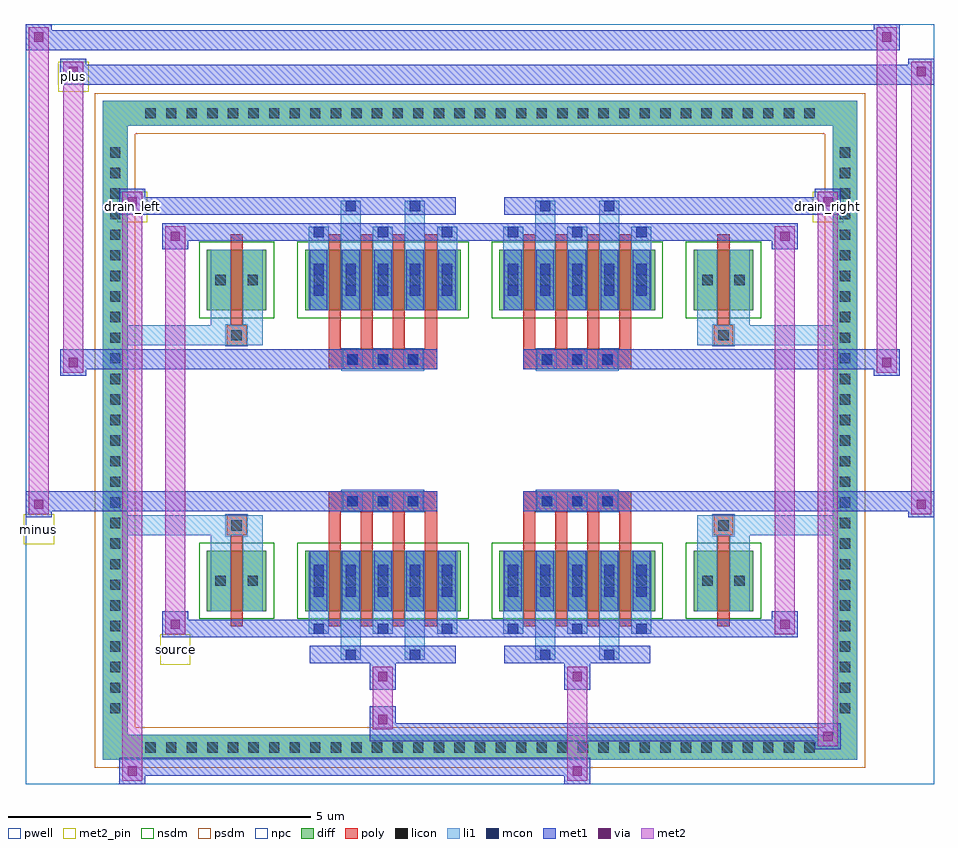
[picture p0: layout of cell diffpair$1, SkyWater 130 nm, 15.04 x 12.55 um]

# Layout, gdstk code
import gdstk
lib = gdstk.Library(unit=1e-6, precision=5e-09)
def R(c, l, rs):  # rectangles x0, y0, x1, y1
    for r in rs: c.add(gdstk.rectangle(r[:2], r[2:], *l))
def A(c, l, x, y, w, h, nx, ny, dx, dy):  # array of equal rectangles
    R(c, l, [(x+i*dx, y+j*dy, x+i*dx+w, y+j*dy+h) for i in range(nx) for j in range(ny)])
def P(c, l, *ps):  # polygons
    for p in ps: c.add(gdstk.Polygon(p, *l))
pwell = (64, 44)
diff = (65, 20)
poly = (66, 20)
licon = (66, 44)
li1 = (67, 20)
mcon = (67, 44)
met1 = (68, 20)
via = (68, 44)
met2_pin = (69, 16)
met2 = (69, 20)
nsdm = (93, 44)
psdm = (94, 20)
npc = (95, 20)

diffpair_1 = lib.new_cell('diffpair$1')
R(diffpair_1, pwell, [(-7.5,-5.84,7.5,6.71), (-4.82,-4.03,-0.01,-0.805), (0.01,-4.03,4.82,-0.805), (-4.82,0.805,-0.01,4.03), (0.01,0.805,4.82,4.03)])
A(diffpair_1, diff, -5.645, -5.44, 0.41, 0.41, 33, 2, 0.34, 10.47)
A(diffpair_1, diff, -6.23, -4.795, 0.41, 0.41, 1, 28, 0, 0.34)
A(diffpair_1, diff, 5.82, -4.795, 0.41, 0.41, 1, 28, 0, 0.34)
R(diffpair_1, diff, [(-5.645,-5.44,5.645,-5.03), (-6.23,-4.795,-5.82,4.795), (5.82,-4.795,6.23,4.795), (-4.51,-2.985,-3.53,-1.985), (-2.89,-2.985,-0.32,-1.985), (0.32,-2.985,2.89,-1.985), (3.53,-2.985,4.51,-1.985), (-4.51,1.985,-3.53,2.985), (-2.89,1.985,-0.32,2.985), (0.32,1.985,2.89,2.985), (3.53,1.985,4.51,2.985), (-5.645,5.03,5.645,5.44)])
P(diffpair_1, diff, [(6.23,5.44),(-6.23,5.44),(-6.23,-5.03),(-5.82,-5.03),(-5.82,5.03),(5.82,5.03),(5.82,-5.03),(-5.82,-5.03),(-6.23,-5.03),(-6.23,-5.44),(6.23,-5.44)])
A(diffpair_1, poly, -2.5, -3.235, 0.2, 1.5, 4, 2, 0.53, 4.97)
A(diffpair_1, poly, 0.71, -3.235, 0.2, 1.5, 4, 2, 0.53, 4.97)
A(diffpair_1, poly, -2.5, -1.735, 0.2, 0.4, 4, 2, 0.53, 3.07)
A(diffpair_1, poly, 0.71, -1.735, 0.2, 0.4, 4, 2, 0.53, 3.07)
A(diffpair_1, poly, -2.27, -1.335, 0.33, 0.33, 3, 2, 0.5, 2.34)
A(diffpair_1, poly, 0.94, -1.335, 0.33, 0.33, 3, 2, 0.5, 2.34)
R(diffpair_1, poly, [(-4.12,-3.235,-3.92,-1.735), (3.92,-3.235,4.12,-1.735), (-4.185,-1.735,-3.855,-1.405), (-4.185,-1.735,-3.855,-1.405), (3.855,-1.735,4.185,-1.405), (3.855,-1.735,4.185,-1.405), (-2.5,-1.335,-0.71,-1.005), (0.71,-1.335,2.5,-1.005), (-2.5,1.005,-0.71,1.335), (0.71,1.005,2.5,1.335), (-4.185,1.405,-3.855,1.735), (-4.185,1.405,-3.855,1.735), (3.855,1.405,4.185,1.735), (3.855,1.405,4.185,1.735), (-4.12,1.735,-3.92,3.235), (3.92,1.735,4.12,3.235)])
A(diffpair_1, licon, -5.525, -5.32, 0.17, 0.17, 33, 2, 0.34, 10.47)
A(diffpair_1, licon, -6.11, -4.675, 0.17, 0.17, 1, 28, 0, 0.34)
A(diffpair_1, licon, 5.94, -4.675, 0.17, 0.17, 1, 28, 0, 0.34)
A(diffpair_1, licon, -2.75, -2.57, 0.17, 0.17, 5, 2, 0.53, 4.97)
A(diffpair_1, licon, 0.46, -2.57, 0.17, 0.17, 5, 2, 0.53, 4.97)
A(diffpair_1, licon, -2.19, -1.255, 0.17, 0.17, 3, 2, 0.5, 2.34)
A(diffpair_1, licon, 1.02, -1.255, 0.17, 0.17, 3, 2, 0.5, 2.34)
R(diffpair_1, licon, [(-4.37,-2.57,-4.2,-2.4), (-3.84,-2.57,-3.67,-2.4), (3.67,-2.57,3.84,-2.4), (4.2,-2.57,4.37,-2.4), (-4.105,-1.655,-3.935,-1.485), (3.935,-1.655,4.105,-1.485), (-4.105,1.485,-3.935,1.655), (3.935,1.485,4.105,1.655), (-4.37,2.4,-4.2,2.57), (-3.84,2.4,-3.67,2.57), (3.67,2.4,3.84,2.57), (4.2,2.4,4.37,2.57)])
A(diffpair_1, li1, -5.605, -5.4, 0.33, 0.33, 33, 2, 0.34, 10.47)
A(diffpair_1, li1, -6.19, -4.755, 0.33, 0.33, 1, 28, 0, 0.34)
A(diffpair_1, li1, 5.86, -4.755, 0.33, 0.33, 1, 28, 0, 0.34)
A(diffpair_1, li1, -2.83, -3.36, 0.33, 0.375, 3, 2, 1.06, 6.345)
A(diffpair_1, li1, -2.75, -3.36, 0.17, 0.17, 3, 2, 1.06, 6.55)
A(diffpair_1, li1, 0.38, -3.36, 0.33, 0.375, 3, 2, 1.06, 6.345)
A(diffpair_1, li1, 0.46, -3.36, 0.17, 0.17, 3, 2, 1.06, 6.55)
A(diffpair_1, li1, -2.83, -2.985, 0.33, 1, 5, 2, 0.53, 4.97)
A(diffpair_1, li1, 0.38, -2.985, 0.33, 1, 5, 2, 0.53, 4.97)
A(diffpair_1, li1, -2.75, -2.75, 0.17, 0.17, 5, 2, 0.53, 0.36)
A(diffpair_1, li1, -2.75, -2.75, 0.17, 0.53, 5, 2, 0.53, 4.97)
A(diffpair_1, li1, 0.46, -2.75, 0.17, 0.17, 5, 2, 0.53, 0.36)
A(diffpair_1, li1, 0.46, -2.75, 0.17, 0.53, 5, 2, 0.53, 4.97)
A(diffpair_1, li1, -2.83, -2.65, 0.33, 0.33, 5, 2, 0.53, 4.97)
A(diffpair_1, li1, 0.38, -2.65, 0.33, 0.33, 5, 2, 0.53, 4.97)
A(diffpair_1, li1, -2.27, -1.335, 0.33, 0.33, 3, 2, 0.5, 2.34)
A(diffpair_1, li1, 0.94, -1.335, 0.33, 0.33, 3, 2, 0.5, 2.34)
A(diffpair_1, li1, -2.75, 2.22, 0.17, 0.17, 5, 2, 0.53, 0.36)
A(diffpair_1, li1, 0.46, 2.22, 0.17, 0.17, 5, 2, 0.53, 0.36)
R(diffpair_1, li1, [(-6.23,-5.44,-5.82,-5.03), (-6.23,-5.44,-5.82,-5.03), (-5.82,-5.44,5.82,-5.03), (5.82,-5.44,6.23,-5.03), (5.82,-5.44,6.23,-5.03), (-6.23,-5.03,-5.82,5.03), (5.82,-5.03,6.23,5.03), (-2.3,-3.79,-1.97,-2.985), (-2.22,-3.79,-2.05,-3.62), (-1.24,-3.79,-0.91,-2.985), (-1.16,-3.79,-0.99,-3.62), (0.91,-3.79,1.24,-2.985), (0.99,-3.79,1.16,-3.62), (1.97,-3.79,2.3,-2.985), (2.05,-3.79,2.22,-3.62), (-4.45,-2.985,-4.12,-1.985), (-3.92,-2.985,-3.59,-1.985), (3.59,-2.985,3.92,-1.985), (4.12,-2.985,4.45,-1.985), (-4.45,-2.65,-4.12,-2.32), (-3.92,-2.65,-3.59,-2.32), (3.59,-2.65,3.92,-2.32), (4.12,-2.65,4.45,-2.32), (-4.45,-1.985,-4.12,-1.405), (-3.92,-1.985,-3.59,-1.405), (3.59,-1.985,3.92,-1.405), (4.12,-1.985,4.45,-1.405), (-6.23,-1.735,-4.185,-1.405), (-4.45,-1.735,-4.185,-1.405), (-4.185,-1.735,-3.855,-1.405), (-3.855,-1.735,-3.59,-1.405), (3.59,-1.735,3.855,-1.405), (3.855,-1.735,4.185,-1.405), (3.855,-1.735,6.23,-1.405), (4.185,-1.735,4.45,-1.405), (-6.23,1.405,-4.185,1.735), (-4.45,1.405,-4.185,1.735), (-4.45,1.405,-4.12,1.985), (-4.185,1.405,-3.855,1.735), (-3.92,1.405,-3.59,1.985), (-3.855,1.405,-3.59,1.735), (3.59,1.405,3.855,1.735), (3.59,1.405,3.92,1.985), (3.855,1.405,4.185,1.735), (3.855,1.405,6.23,1.735), (4.12,1.405,4.45,1.985), (4.185,1.405,4.45,1.735), (-4.45,1.985,-4.12,2.985), (-3.92,1.985,-3.59,2.985), (3.59,1.985,3.92,2.985), (4.12,1.985,4.45,2.985), (-4.45,2.32,-4.12,2.65), (-3.92,2.32,-3.59,2.65), (3.59,2.32,3.92,2.65), (4.12,2.32,4.45,2.65), (-2.3,2.985,-1.97,3.79), (-1.24,2.985,-0.91,3.79), (0.91,2.985,1.24,3.79), (1.97,2.985,2.3,3.79), (-2.22,3.62,-2.05,3.79), (-1.16,3.62,-0.99,3.79), (0.99,3.62,1.16,3.79), (2.05,3.62,2.22,3.79), (-6.23,5.03,-5.82,5.44), (-6.23,5.03,-5.82,5.44), (-5.82,5.03,5.82,5.44), (5.82,5.03,6.23,5.44), (5.82,5.03,6.23,5.44)])
A(diffpair_1, mcon, -2.75, -3.36, 0.17, 0.17, 3, 2, 1.06, 6.55)
A(diffpair_1, mcon, 0.46, -3.36, 0.17, 0.17, 3, 2, 1.06, 6.55)
A(diffpair_1, mcon, -2.75, -2.75, 0.17, 0.17, 5, 2, 0.53, 0.36)
A(diffpair_1, mcon, 0.46, -2.75, 0.17, 0.17, 5, 2, 0.53, 0.36)
A(diffpair_1, mcon, -2.19, -1.255, 0.17, 0.17, 3, 2, 0.5, 2.34)
A(diffpair_1, mcon, 1.02, -1.255, 0.17, 0.17, 3, 2, 0.5, 2.34)
A(diffpair_1, mcon, -2.75, 2.22, 0.17, 0.17, 5, 2, 0.53, 0.36)
A(diffpair_1, mcon, 0.46, 2.22, 0.17, 0.17, 5, 2, 0.53, 0.36)
R(diffpair_1, mcon, [(-2.22,-3.79,-2.05,-3.62), (-1.16,-3.79,-0.99,-3.62), (0.99,-3.79,1.16,-3.62), (2.05,-3.79,2.22,-3.62), (-2.22,3.62,-2.05,3.79), (-1.16,3.62,-0.99,3.79), (0.99,3.62,1.16,3.79), (2.05,3.62,2.22,3.79)])
A(diffpair_1, met1, -2.81, -3.42, 0.29, 0.29, 3, 2, 1.06, 6.55)
A(diffpair_1, met1, 0.4, -3.42, 0.29, 0.29, 3, 2, 1.06, 6.55)
A(diffpair_1, met1, -2.81, -2.985, 0.29, 1, 5, 2, 0.53, 4.97)
A(diffpair_1, met1, 0.4, -2.985, 0.29, 1, 5, 2, 0.53, 4.97)
A(diffpair_1, met1, -2.81, -2.81, 0.29, 0.29, 5, 2, 0.53, 0.36)
A(diffpair_1, met1, 0.4, -2.81, 0.29, 0.29, 5, 2, 0.53, 0.36)
A(diffpair_1, met1, -2.25, -1.315, 0.29, 0.29, 3, 2, 0.5, 2.34)
A(diffpair_1, met1, 0.96, -1.315, 0.29, 0.29, 3, 2, 0.5, 2.34)
A(diffpair_1, met1, -2.81, 2.16, 0.29, 0.29, 5, 2, 0.53, 0.36)
A(diffpair_1, met1, 0.4, 2.16, 0.29, 0.29, 5, 2, 0.53, 0.36)
R(diffpair_1, met1, [(-5.96,-5.84,-5.53,-5.41), (1.39,-5.84,1.82,-5.41), (-5.96,-5.7,1.82,-5.41), (5.53,-5.27,5.96,-4.84), (-1.82,-5.13,5.96,-4.84), (-1.82,-4.99,-1.39,-4.56), (-1.82,-4.28,-1.39,-3.85), (1.39,-4.28,1.82,-3.85), (-2.81,-3.85,-0.4,-3.56), (-2.28,-3.85,-1.99,-3.56), (-1.22,-3.85,-0.93,-3.56), (0.4,-3.85,2.81,-3.56), (0.93,-3.85,1.22,-3.56), (1.99,-3.85,2.28,-3.56), (-5.25,-3.42,-4.82,-2.99), (-5.25,-3.42,-2.81,-3.13), (-2.81,-3.42,-0.4,-3.13), (-0.4,-3.42,0.4,-3.13), (0.4,-3.42,2.81,-3.13), (2.81,-3.42,5.25,-3.13), (4.82,-3.42,5.25,-2.99), (-7.5,-1.435,-7.07,-1.005), (7.07,-1.435,7.5,-1.005), (-7.5,-1.335,-0.71,-1.005), (-2.5,-1.335,-0.71,-1.005), (0.71,-1.335,2.5,-1.005), (0.71,-1.335,7.5,-1.005), (-6.93,0.905,-6.5,1.335), (6.5,0.905,6.93,1.335), (-6.93,1.005,-2.5,1.335), (-2.5,1.005,-0.71,1.335), (0.71,1.005,2.5,1.335), (2.5,1.005,6.93,1.335), (-5.25,2.99,-4.82,3.42), (4.82,2.99,5.25,3.42), (-5.25,3.13,-2.81,3.42), (-2.81,3.13,-0.4,3.42), (-0.4,3.13,0.4,3.42), (0.4,3.13,2.81,3.42), (2.81,3.13,5.25,3.42), (-5.96,3.56,-5.53,3.99), (-5.96,3.56,-2.81,3.85), (-2.81,3.56,-0.4,3.85), (-2.28,3.56,-1.99,3.85), (-1.22,3.56,-0.93,3.85), (0.4,3.56,2.81,3.85), (0.93,3.56,1.22,3.85), (1.99,3.56,2.28,3.85), (2.81,3.56,5.96,3.85), (5.53,3.56,5.96,3.99), (-6.93,5.71,-6.5,6.14), (-6.93,5.71,-4.82,6.04), (-4.82,5.71,4.82,6.04), (4.82,5.71,7.5,6.04), (7.07,5.71,7.5,6.14), (-7.5,6.28,-7.07,6.71), (-7.5,6.28,-4.82,6.61), (-4.82,6.28,4.82,6.61), (4.82,6.28,6.93,6.61), (6.5,6.28,6.93,6.71)])
R(diffpair_1, via, [(-5.82,-5.7,-5.67,-5.55), (1.53,-5.7,1.68,-5.55), (5.67,-5.13,5.82,-4.98), (-1.68,-4.85,-1.53,-4.7), (-1.68,-4.14,-1.53,-3.99), (1.53,-4.14,1.68,-3.99), (-5.11,-3.28,-4.96,-3.13), (4.96,-3.28,5.11,-3.13), (-7.36,-1.295,-7.21,-1.145), (7.21,-1.295,7.36,-1.145), (-6.79,1.045,-6.64,1.195), (6.64,1.045,6.79,1.195), (-5.11,3.13,-4.96,3.28), (4.96,3.13,5.11,3.28), (-5.82,3.7,-5.67,3.85), (5.67,3.7,5.82,3.85), (-6.79,5.85,-6.64,6), (7.21,5.85,7.36,6), (-7.36,6.42,-7.21,6.57), (6.64,6.42,6.79,6.57)])
R(diffpair_1, met2_pin, [(-5.285,-3.87,-4.785,-3.37), (-7.535,-1.885,-7.035,-1.385), (-5.995,3.44,-5.495,3.94), (5.495,3.44,5.995,3.94), (-6.965,5.59,-6.465,6.09)])
R(diffpair_1, met2, [(-5.91,-5.79,-5.58,-5.46), (-5.91,-5.79,-5.58,3.94), (1.44,-5.79,1.77,-5.46), (1.44,-5.46,1.77,-4.23), (5.58,-5.22,5.91,-4.89), (5.58,-5.22,5.91,3.94), (-1.77,-4.94,-1.44,-4.61), (-1.77,-4.61,-1.44,-4.23), (-1.77,-4.23,-1.44,-3.9), (1.44,-4.23,1.77,-3.9), (-5.2,-3.37,-4.87,-3.04), (-5.2,-3.37,-4.87,3.37), (4.87,-3.37,5.2,-3.04), (4.87,-3.37,5.2,3.37), (-7.45,-1.385,-7.12,-1.055), (-7.45,-1.385,-7.12,6.66), (7.12,-1.385,7.45,-1.055), (7.12,-1.385,7.45,6.09), (-6.88,0.955,-6.55,1.285), (-6.88,0.955,-6.55,6.09), (6.55,0.955,6.88,1.285), (6.55,0.955,6.88,6.66), (-5.2,3.04,-4.87,3.37), (4.87,3.04,5.2,3.37), (-5.91,3.61,-5.58,3.94), (5.58,3.61,5.91,3.94), (-6.88,5.76,-6.55,6.09), (7.12,5.76,7.45,6.09), (-7.45,6.33,-7.12,6.66), (6.55,6.33,6.88,6.66)])
P(diffpair_1, met2, [(7.45,-1.385),(7.45,-1.385),(7.45,-1.055),(7.45,-1.055)],
  [(7.45,5.76),(7.45,5.76),(7.45,6.09),(7.45,6.09)],
  [(-7.12,-1.385),(-7.12,-1.385),(-7.12,-1.055),(-7.12,-1.055)],
  [(-7.12,6.33),(-7.12,6.33),(-7.12,6.66),(-7.12,6.66)],
  [(6.88,0.955),(6.88,0.955),(6.88,1.285),(6.88,1.285)],
  [(6.88,6.33),(6.88,6.33),(6.88,6.66),(6.88,6.66)],
  [(-6.55,0.955),(-6.55,0.955),(-6.55,1.285),(-6.55,1.285)],
  [(-6.55,5.76),(-6.55,5.76),(-6.55,6.09),(-6.55,6.09)],
  [(-5.58,-5.79),(-5.58,-5.79),(-5.58,-5.46),(-5.58,-5.46)],
  [(-5.58,3.61),(-5.58,3.61),(-5.58,3.94),(-5.58,3.94)],
  [(5.91,-5.22),(5.91,-5.22),(5.91,-4.89),(5.91,-4.89)],
  [(5.91,3.61),(5.91,3.61),(5.91,3.94),(5.91,3.94)],
  [(-4.87,-3.37),(-4.87,-3.37),(-4.87,-3.04),(-4.87,-3.04)],
  [(-4.87,3.04),(-4.87,3.04),(-4.87,3.37),(-4.87,3.37)],
  [(5.2,-3.37),(5.2,-3.37),(5.2,-3.04),(5.2,-3.04)],
  [(5.2,3.04),(5.2,3.04),(5.2,3.37),(5.2,3.37)])
R(diffpair_1, nsdm, [(-4.64,-3.115,-3.4,-1.855), (-3.02,-3.115,-0.19,-1.855), (0.19,-3.115,3.02,-1.855), (3.4,-3.115,4.64,-1.855), (-4.64,1.855,-3.4,3.115), (-3.02,1.855,-0.19,3.115), (0.19,1.855,3.02,3.115), (3.4,1.855,4.64,3.115)])
P(diffpair_1, psdm, [(6.36,5.57),(-6.36,5.57),(-6.36,-4.9),(-5.69,-4.9),(-5.69,4.9),(5.69,4.9),(5.69,-4.9),(-5.69,-4.9),(-6.36,-4.9),(-6.36,-5.57),(6.36,-5.57)])
A(diffpair_1, npc, -2.29, -1.355, 0.37, 0.37, 3, 2, 0.5, 2.34)
A(diffpair_1, npc, 0.92, -1.355, 0.37, 0.37, 3, 2, 0.5, 2.34)
R(diffpair_1, npc, [(-4.205,-1.755,-3.835,-1.385), (3.835,-1.755,4.205,-1.385), (-2.29,-1.355,-1.42,-0.985), (-2.29,-1.355,-1.42,-0.985), (-1.79,-1.355,-0.92,-0.985), (-1.79,-1.355,-0.92,-0.985), (0.92,-1.355,1.79,-0.985), (0.92,-1.355,1.79,-0.985), (1.42,-1.355,2.29,-0.985), (1.42,-1.355,2.29,-0.985), (-2.29,0.985,-1.42,1.355), (-2.29,0.985,-1.42,1.355), (-1.79,0.985,-0.92,1.355), (-1.79,0.985,-0.92,1.355), (0.92,0.985,1.79,1.355), (0.92,0.985,1.79,1.355), (1.42,0.985,2.29,1.355), (1.42,0.985,2.29,1.355), (-4.205,1.385,-3.835,1.755), (3.835,1.385,4.205,1.755)])
diffpair_1.add(gdstk.Label('minus', (-7.285,-1.635), layer=69, texttype=5))
diffpair_1.add(gdstk.Label('drain_right', (5.745,3.69), layer=69, texttype=5))
diffpair_1.add(gdstk.Label('drain_left', (-5.745,3.69), layer=69, texttype=5))
diffpair_1.add(gdstk.Label('source', (-5.035,-3.62), layer=69, texttype=5))
diffpair_1.add(gdstk.Label('plus', (-6.715,5.84), layer=69, texttype=5))

lib.write_gds('diffpair_1.gds')
